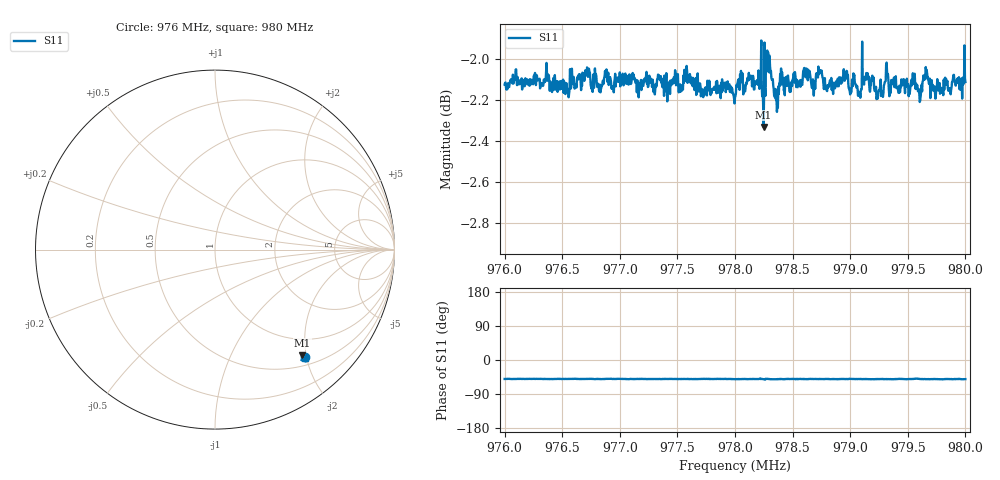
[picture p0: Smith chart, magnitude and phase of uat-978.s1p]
! Calibrated averaged scanner-service zoom
# Hz S RI R 50
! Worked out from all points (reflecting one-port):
!   1001 points, 976 MHz to 980 MHz, reference 50 ohm
!   lowest |S11| = -2.3 dB at 978.248 MHz (marker M1), VSWR 7.49, Z = 34 - j96.5 ohm
!   phase of S11 starts at -50 deg and turns -0 deg over the sweep
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9.76e8  0.503 -0.6
9.765e8  0.5038 -0.6007
9.76724e8  0.5078 -0.6004
9.76828e8  0.5021 -0.6007
9.77e8  0.5092 -0.6018
9.775e8  0.5058 -0.6014
9.779e8  0.5018 -0.5998
9.78e8  0.4955 -0.5991
9.78212e8  0.5029 -0.5977
9.78248e8  0.4867 -0.5896
9.78284e8  0.5133 -0.6089
9.78352e8  0.4969 -0.6026
9.785e8  0.5061 -0.6003
9.7862e8  0.5015 -0.6103
9.78676e8  0.5045 -0.6017
9.78744e8  0.5051 -0.6052
9.79e8  0.5014 -0.5957
9.79184e8  0.4976 -0.6082
9.79248e8  0.4976 -0.6014
9.79312e8  0.5034 -0.6108
9.79432e8  0.5015 -0.5969
9.795e8  0.4992 -0.6035
9.79572e8  0.5144 -0.5909
9.79612e8  0.4976 -0.5982
9.79656e8  0.5019 -0.6109
9.79788e8  0.4949 -0.6049
9.7986e8  0.4996 -0.5996
9.8e8  0.4989 -0.6049
